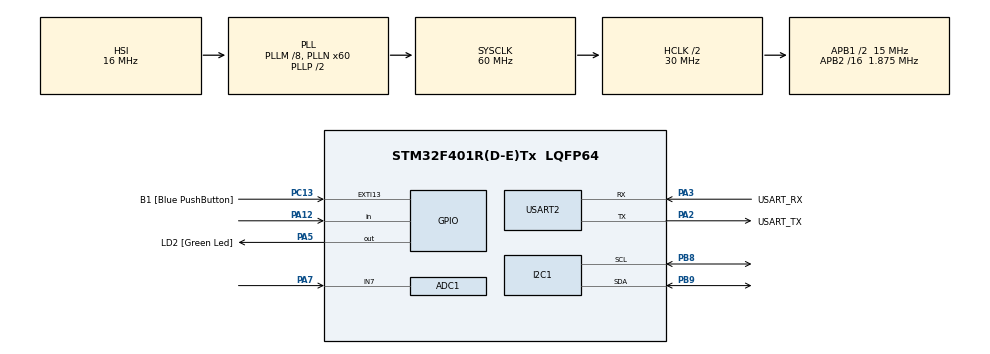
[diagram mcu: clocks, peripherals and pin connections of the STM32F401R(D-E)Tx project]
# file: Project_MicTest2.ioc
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ADC1.Channel-0\#ChannelRegularConversion=ADC_CHANNEL_7
ADC1.ClockPrescaler=ADC_CLOCK_SYNC_PCLK_DIV2
ADC1.ContinuousConvMode=ENABLE
ADC1.DMAContinuousRequests=ENABLE
ADC1.NbrOfConversion=1
ADC1.NbrOfConversionFlag=1
ADC1.Rank-0\#ChannelRegularConversion=1
ADC1.SamplingTime-0\#ChannelRegularConversion=ADC_SAMPLETIME_480CYCLES
ADC1.master=1
Dma.ADC1.0.Direction=DMA_PERIPH_TO_MEMORY
Dma.ADC1.0.FIFOMode=DMA_FIFOMODE_DISABLE
Dma.ADC1.0.Instance=DMA2_Stream0
Dma.ADC1.0.MemDataAlignment=DMA_MDATAALIGN_HALFWORD
Dma.ADC1.0.MemInc=DMA_MINC_ENABLE
Dma.ADC1.0.Mode=DMA_CIRCULAR
Dma.ADC1.0.PeriphDataAlignment=DMA_PDATAALIGN_HALFWORD
Dma.ADC1.0.PeriphInc=DMA_PINC_DISABLE
Dma.ADC1.0.Priority=DMA_PRIORITY_LOW
Dma.I2C1_TX.1.Direction=DMA_MEMORY_TO_PERIPH
Dma.I2C1_TX.1.FIFOMode=DMA_FIFOMODE_DISABLE
Dma.I2C1_TX.1.Instance=DMA1_Stream6
Dma.I2C1_TX.1.MemDataAlignment=DMA_MDATAALIGN_BYTE
Dma.I2C1_TX.1.MemInc=DMA_MINC_ENABLE
Dma.I2C1_TX.1.Mode=DMA_NORMAL
Dma.I2C1_TX.1.PeriphDataAlignment=DMA_PDATAALIGN_BYTE
Dma.I2C1_TX.1.PeriphInc=DMA_PINC_DISABLE
Dma.I2C1_TX.1.Priority=DMA_PRIORITY_LOW
Dma.Request0=ADC1
Dma.Request1=I2C1_TX
I2C1.OwnAddress=0
Mcu.Family=STM32F4
Mcu.Name=STM32F401R(D-E)Tx
Mcu.Package=LQFP64
NVIC.DMA1_Stream6_IRQn=true\:0\:0\:false\:false\:true\:false\:true
NVIC.DMA2_Stream0_IRQn=true\:0\:0\:false\:false\:true\:false\:true
NVIC.EXTI15_10_IRQn=true\:0\:0\:false\:false\:true\:true\:true
NVIC.PriorityGroup=NVIC_PRIORITYGROUP_0
PA12.Signal=GPIO_Input
PA13.GPIO_Label=TMS
PA13.Mode=Serial_Wire
PA13.Signal=SYS_JTMS-SWDIO
PA14.GPIO_Label=TCK
PA14.Mode=Serial_Wire
PA14.Signal=SYS_JTCK-SWCLK
PA2.GPIO_Label=USART_TX
PA2.GPIO_Mode=GPIO_MODE_AF_PP
PA2.GPIO_PuPd=GPIO_NOPULL
PA2.GPIO_Speed=GPIO_SPEED_FREQ_LOW
PA2.Mode=Asynchronous
PA2.Signal=USART2_TX
PA3.GPIO_Label=USART_RX
PA3.GPIO_Mode=GPIO_MODE_AF_PP
PA3.GPIO_PuPd=GPIO_NOPULL
PA3.GPIO_Speed=GPIO_SPEED_FREQ_LOW
PA3.Mode=Asynchronous
PA3.Signal=USART2_RX
PA5.GPIO_Label=LD2 [Green Led]
PA5.GPIO_Mode=GPIO_MODE_OUTPUT_PP
PA5.GPIO_PuPd=GPIO_NOPULL
PA5.GPIO_Speed=GPIO_SPEED_FREQ_LOW
PA5.Signal=GPIO_Output
PA7.Signal=ADCx_IN7
PB3.GPIO_Label=SWO
PB3.Signal=SYS_JTDO-SWO
PB8.GPIO_Pu=GPIO_NOPULL
PB8.Mode=I2C
PB8.Signal=I2C1_SCL
PB9.GPIO_Pu=GPIO_NOPULL
PB9.Mode=I2C
PB9.Signal=I2C1_SDA
PC13-ANTI_TAMP.GPIO_Label=B1 [Blue PushButton]
PC13-ANTI_TAMP.GPIO_ModeDefaultEXTI=GPIO_MODE_IT_FALLING
PC13-ANTI_TAMP.GPIO_PuPd=GPIO_NOPULL
PC13-ANTI_TAMP.Signal=GPXTI13
PC14-OSC32_IN.Mode=LSE-External-Oscillator
PC14-OSC32_IN.Signal=RCC_OSC32_IN
PC15-OSC32_OUT.Mode=LSE-External-Oscillator
PC15-OSC32_OUT.Signal=RCC_OSC32_OUT
PDM2PCM.CHANNEL1_in_ptr_channels=1
PDM2PCM.CHANNEL1_out_ptr_channels=1
PH0\ -\ OSC_IN.Mode=HSE-External-Oscillator
PH0\ -\ OSC_IN.Signal=RCC_OSC_IN
PH1\ -\ OSC_OUT.Mode=HSE-External-Oscillator
PH1\ -\ OSC_OUT.Signal=RCC_OSC_OUT
ProjectManager.HeapSize=0x200
ProjectManager.StackSize=0x400
ProjectManager.TargetToolchain=STM32CubeIDE
RCC.48MHZClocksFreq_Value=17142857.14285714
RCC.AHBCLKDivider=RCC_SYSCLK_DIV2
RCC.AHBFreq_Value=30000000
RCC.APB1CLKDivider=RCC_HCLK_DIV2
RCC.APB1Freq_Value=15000000
RCC.APB1TimFreq_Value=30000000
RCC.APB2CLKDivider=RCC_HCLK_DIV16
RCC.APB2Freq_Value=1875000
RCC.APB2TimFreq_Value=3750000
RCC.CortexFreq_Value=30000000
RCC.HCLKFreq_Value=30000000
RCC.HSE_VALUE=8000000
RCC.HSI_VALUE=16000000
RCC.PLLM=8
RCC.PLLN=60
RCC.PLLQ=7
RCC.SYSCLKFreq_VALUE=60000000
RCC.SYSCLKSource=RCC_SYSCLKSOURCE_PLLCLK
RCC.VCOOutputFreq_Value=120000000
SH.ADCx_IN7.0=ADC1_IN7,IN7
USART2.VirtualMode=VM_ASYNC
VP_CRC_VS_CRC.Mode=CRC_Activate
VP_PDM2PCM_VS_PDM2PCM.Mode=PDM2PCM_Channel
board=NUCLEO-F401RE

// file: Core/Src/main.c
/* USER CODE BEGIN Header */
/**
  ******************************************************************************
  * @file           : main.c
  * @brief          : Main program body
  ******************************************************************************
  * @attention
  *
  * Copyright (c) 2022 STMicroelectronics.
  * All rights reserved.
  *
  * This software is licensed under terms that can be found in the LICENSE file
  * in the root directory of this software component.
  * If no LICENSE file comes with this software, it is provided AS-IS.
  *
  ******************************************************************************
  */
/* USER CODE END Header */
#include "main.h"
#include "pdm2pcm.h"

ADC_HandleTypeDef hadc1;
DMA_HandleTypeDef hdma_adc1;

CRC_HandleTypeDef hcrc;

I2C_HandleTypeDef hi2c1;
DMA_HandleTypeDef hdma_i2c1_tx;

UART_HandleTypeDef huart2;

void SystemClock_Config(void);
static void MX_GPIO_Init(void);
static void MX_USART2_UART_Init(void);
static void MX_DMA_Init(void);
static void MX_ADC1_Init(void);
static void MX_CRC_Init(void);
static void MX_I2C1_Init(void);

/* USER CODE BEGIN 0 */
uint16_t txBuf[128];
uint16_t pdmRxBuf[128];
uint16_t MidBuffer[128];
uint8_t txstate = 0;
uint8_t rxstate = 0;

uint16_t fifobuf[256];
uint8_t start=0;
uint8_t fifo_w_ptr = 0;
uint8_t fifo_r_ptr = 0;
uint8_t fifo_read_enabled = 0;
char out[10];
uint8_t startRead=0;
void FifoWrite(uint16_t data) {
		if(startRead==1){
			sprintf(out,"-    ");
		}else{
			sprintf(out,"%4d ",data);
		}

		 HAL_UART_Transmit(&huart2,out,strlen(out),300);
		 HAL_I2C_Slave_Transmit(&hi2c1, out, sizeof(out),300);

}

uint16_t FifoRead() {
	uint16_t val = fifobuf[fifo_r_ptr];
	fifo_r_ptr++;
	sprintf(out,"%d ",val);
	HAL_UART_Transmit(&huart2,out,strlen(out),100);
	return val;
}
/* USER CODE END 0 */

int main(void)
{

  /* MCU Configuration--------------------------------------------------------*/

  /* Reset of all peripherals, Initializes the Flash interface and the Systick. */
  HAL_Init();

  /* Configure the system clock */
  SystemClock_Config();

  /* Initialize all configured peripherals */
  MX_GPIO_Init();
  MX_USART2_UART_Init();
  MX_DMA_Init();
  MX_ADC1_Init();
  MX_CRC_Init();
  MX_PDM2PCM_Init();
  MX_I2C1_Init();
  /* USER CODE BEGIN 2 */
  HAL_ADC_Start_DMA(&hadc1, (uint32_t*)pdmRxBuf, 128);
  /*char out[10];
  	      	sprintf(out,"TEST\r\n");
  	      	HAL_UART_Transmit(&huart2,out,strlen(out),100);*/
  /* USER CODE END 2 */

  /* Infinite loop */
  /* USER CODE BEGIN WHILE */
  while (1)
  {

	/* if (rxstate==1) {
	      	PDM_Filter(&pdmRxBuf[0],&MidBuffer[0], &PDM1_filter_handler);
	      	for (int i=0; i<16;i++) { FifoWrite(MidBuffer[i]); }
	      	if (fifo_w_ptr-fifo_r_ptr > 128) fifo_read_enabled=1;
	      	rxstate=0;

	      }

	   if (rxstate==2) {
	      	PDM_Filter(&pdmRxBuf[64],&MidBuffer[0], &PDM1_filter_handler);
	      	for (int i=0; i<16;i++) { FifoWrite(MidBuffer[i]); }
	      	rxstate=0;

	      }*/

	   /*if (rxstate==1) {
	  	      	//PDM_Filter(&pdmRxBuf[0],&MidBuffer[0], &PDM1_filter_handler);
	  	      	for (int i=0; i<64;i++) { FifoWrite(pdmRxBuf[i]); }
	  	      	if (fifo_w_ptr-fifo_r_ptr > 128) fifo_read_enabled=1;
	  	      	rxstate=0;

	  	      }

	  	   if (rxstate==2) {
	  	      	//PDM_Filter(&pdmRxBuf[64],&MidBuffer[0], &PDM1_filter_handler);
	  	      	for (int i=64; i<128;i++) { FifoWrite(pdmRxBuf[i]); }
	  	      	rxstate=0;

	  	      }
	   if (txstate==1) {
	      	if (fifo_read_enabled==1) {
	  			for (int i=0; i<64;i=i+4) {
	  				uint16_t data = FifoRead();
	  				txBuf[i] = data;
	  				txBuf[i+2] = data;
	  			}
	  			char out[10];
	  			sprintf(out,"\r\n");
	  			HAL_UART_Transmit(&huart2,out,strlen(out),100);
	      	}
	      	txstate=0;
	      }

	      if (txstate==2) {
	      	if (fifo_read_enabled==1) {
	  			for (int i=64; i<128;i=i+4) {
	  				uint16_t data = FifoRead();
	  				txBuf[i] = data;
	  				txBuf[i+2] = data;
	  			}
	  			char out[10];
	  				sprintf(out,"\r\n");
	  				HAL_UART_Transmit(&huart2,out,strlen(out),100);
	  		}
	      	txstate=0;
	      }
	 }*/
    /* USER CODE END WHILE */

  }
}

void SystemClock_Config(void)
{
  RCC_OscInitTypeDef RCC_OscInitStruct = {0};
  RCC_ClkInitTypeDef RCC_ClkInitStruct = {0};

  /** Configure the main internal regulator output voltage
  */
  __HAL_RCC_PWR_CLK_ENABLE();
  __HAL_PWR_VOLTAGESCALING_CONFIG(PWR_REGULATOR_VOLTAGE_SCALE2);
  /** Initializes the RCC Oscillators according to the specified parameters
  * in the RCC_OscInitTypeDef structure.
  */
  RCC_OscInitStruct.OscillatorType = RCC_OSCILLATORTYPE_HSI;
  RCC_OscInitStruct.HSIState = RCC_HSI_ON;
  RCC_OscInitStruct.HSICalibrationValue = RCC_HSICALIBRATION_DEFAULT;
  RCC_OscInitStruct.PLL.PLLState = RCC_PLL_ON;
  RCC_OscInitStruct.PLL.PLLSource = RCC_PLLSOURCE_HSI;
  RCC_OscInitStruct.PLL.PLLM = 8;
  RCC_OscInitStruct.PLL.PLLN = 60;
  RCC_OscInitStruct.PLL.PLLP = RCC_PLLP_DIV2;
  RCC_OscInitStruct.PLL.PLLQ = 7;
  if (HAL_RCC_OscConfig(&RCC_OscInitStruct) != HAL_OK)
  {
    Error_Handler();
  }
  /** Initializes the CPU, AHB and APB buses clocks
  */
  RCC_ClkInitStruct.ClockType = RCC_CLOCKTYPE_HCLK|RCC_CLOCKTYPE_SYSCLK
                              |RCC_CLOCKTYPE_PCLK1|RCC_CLOCKTYPE_PCLK2;
  RCC_ClkInitStruct.SYSCLKSource = RCC_SYSCLKSOURCE_PLLCLK;
  RCC_ClkInitStruct.AHBCLKDivider = RCC_SYSCLK_DIV2;
  RCC_ClkInitStruct.APB1CLKDivider = RCC_HCLK_DIV2;
  RCC_ClkInitStruct.APB2CLKDivider = RCC_HCLK_DIV16;

  if (HAL_RCC_ClockConfig(&RCC_ClkInitStruct, FLASH_LATENCY_0) != HAL_OK)
  {
    Error_Handler();
  }
}

static void MX_ADC1_Init(void)
{

  ADC_ChannelConfTypeDef sConfig = {0};

  /** Configure the global features of the ADC (Clock, Resolution, Data Alignment and number of conversion)
  */
  hadc1.Instance = ADC1;
  hadc1.Init.ClockPrescaler = ADC_CLOCK_SYNC_PCLK_DIV2;
  hadc1.Init.Resolution = ADC_RESOLUTION_12B;
  hadc1.Init.ScanConvMode = DISABLE;
  hadc1.Init.ContinuousConvMode = ENABLE;
  hadc1.Init.DiscontinuousConvMode = DISABLE;
  hadc1.Init.ExternalTrigConvEdge = ADC_EXTERNALTRIGCONVEDGE_NONE;
  hadc1.Init.ExternalTrigConv = ADC_SOFTWARE_START;
  hadc1.Init.DataAlign = ADC_DATAALIGN_RIGHT;
  hadc1.Init.NbrOfConversion = 1;
  hadc1.Init.DMAContinuousRequests = ENABLE;
  hadc1.Init.EOCSelection = ADC_EOC_SINGLE_CONV;
  if (HAL_ADC_Init(&hadc1) != HAL_OK)
  {
    Error_Handler();
  }
  /** Configure for the selected ADC regular channel its corresponding rank in the sequencer and its sample time.
  */
  sConfig.Channel = ADC_CHANNEL_7;
  sConfig.Rank = 1;
  sConfig.SamplingTime = ADC_SAMPLETIME_480CYCLES;
  if (HAL_ADC_ConfigChannel(&hadc1, &sConfig) != HAL_OK)
  {
    Error_Handler();
  }

}

static void MX_CRC_Init(void)
{

  hcrc.Instance = CRC;
  if (HAL_CRC_Init(&hcrc) != HAL_OK)
  {
    Error_Handler();
  }
  __HAL_CRC_DR_RESET(&hcrc);

}

static void MX_I2C1_Init(void)
{

  hi2c1.Instance = I2C1;
  hi2c1.Init.ClockSpeed = 100000;
  hi2c1.Init.DutyCycle = I2C_DUTYCYCLE_2;
  hi2c1.Init.OwnAddress1 = 0;
  hi2c1.Init.AddressingMode = I2C_ADDRESSINGMODE_7BIT;
  hi2c1.Init.DualAddressMode = I2C_DUALADDRESS_DISABLE;
  hi2c1.Init.OwnAddress2 = 0;
  hi2c1.Init.GeneralCallMode = I2C_GENERALCALL_DISABLE;
  hi2c1.Init.NoStretchMode = I2C_NOSTRETCH_DISABLE;
  if (HAL_I2C_Init(&hi2c1) != HAL_OK)
  {
    Error_Handler();
  }

}

static void MX_USART2_UART_Init(void)
{

  huart2.Instance = USART2;
  huart2.Init.BaudRate = 115200;
  huart2.Init.WordLength = UART_WORDLENGTH_8B;
  huart2.Init.StopBits = UART_STOPBITS_1;
  huart2.Init.Parity = UART_PARITY_NONE;
  huart2.Init.Mode = UART_MODE_TX_RX;
  huart2.Init.HwFlowCtl = UART_HWCONTROL_NONE;
  huart2.Init.OverSampling = UART_OVERSAMPLING_16;
  if (HAL_UART_Init(&huart2) != HAL_OK)
  {
    Error_Handler();
  }

}

static void MX_DMA_Init(void)
{

  /* DMA controller clock enable */
  __HAL_RCC_DMA2_CLK_ENABLE();
  __HAL_RCC_DMA1_CLK_ENABLE();

  /* DMA interrupt init */
  /* DMA1_Stream6_IRQn interrupt configuration */
  HAL_NVIC_SetPriority(DMA1_Stream6_IRQn, 0, 0);
  HAL_NVIC_EnableIRQ(DMA1_Stream6_IRQn);
  /* DMA2_Stream0_IRQn interrupt configuration */
  HAL_NVIC_SetPriority(DMA2_Stream0_IRQn, 0, 0);
  HAL_NVIC_EnableIRQ(DMA2_Stream0_IRQn);

}

static void MX_GPIO_Init(void)
{
  GPIO_InitTypeDef GPIO_InitStruct = {0};

  /* GPIO Ports Clock Enable */
  __HAL_RCC_GPIOC_CLK_ENABLE();
  __HAL_RCC_GPIOH_CLK_ENABLE();
  __HAL_RCC_GPIOA_CLK_ENABLE();
  __HAL_RCC_GPIOB_CLK_ENABLE();

  /*Configure GPIO pin Output Level */
  HAL_GPIO_WritePin(LD2_GPIO_Port, LD2_Pin, GPIO_PIN_RESET);

  /*Configure GPIO pin : B1_Pin */
  GPIO_InitStruct.Pin = B1_Pin;
  GPIO_InitStruct.Mode = GPIO_MODE_IT_FALLING;
  GPIO_InitStruct.Pull = GPIO_NOPULL;
  HAL_GPIO_Init(B1_GPIO_Port, &GPIO_InitStruct);

  /*Configure GPIO pin : LD2_Pin */
  GPIO_InitStruct.Pin = LD2_Pin;
  GPIO_InitStruct.Mode = GPIO_MODE_OUTPUT_PP;
  GPIO_InitStruct.Pull = GPIO_NOPULL;
  GPIO_InitStruct.Speed = GPIO_SPEED_FREQ_LOW;
  HAL_GPIO_Init(LD2_GPIO_Port, &GPIO_InitStruct);

  /*Configure GPIO pin : PA12 */
  GPIO_InitStruct.Pin = GPIO_PIN_12;
  GPIO_InitStruct.Mode = GPIO_MODE_INPUT;
  GPIO_InitStruct.Pull = GPIO_NOPULL;
  HAL_GPIO_Init(GPIOA, &GPIO_InitStruct);

  /* EXTI interrupt init*/
  HAL_NVIC_SetPriority(EXTI15_10_IRQn, 0, 0);
  HAL_NVIC_EnableIRQ(EXTI15_10_IRQn);

}

/* USER CODE BEGIN 4 */
void HAL_GPIO_EXTI_Callback(uint16_t GPIO_Pin)
{
	start= (start+1)%2;

	__HAL_GPIO_EXTI_CLEAR_IT(GPIO_Pin);
}
void HAL_ADC_ConvCpltCallback(ADC_HandleTypeDef *hadc){
		startRead = HAL_GPIO_ReadPin(GPIOA, 1<<12);
		rxstate = 2;
		txstate = 2;
		for (int i=64; i<128;i++) {
			FifoWrite(pdmRxBuf[i]);
		}

	/*char out[10];
	sprintf(out,"Out\r\n");
	HAL_UART_Transmit(&huart2,out,strlen(out),100);*/
}
void HAL_ADC_ConvHalfCpltCallback(ADC_HandleTypeDef* hadc){
	if(startRead==1){
		rxstate = 1;
		txstate = 1;
		for (int i=0; i<64;i++) { FifoWrite(pdmRxBuf[i]); }
	}

	/*char out[10];
	sprintf(out,"\r\n");
	HAL_UART_Transmit(&huart2,out,strlen(out),100);*/
}
/* USER CODE END 4 */

void Error_Handler(void)
{
  __disable_irq();
  while (1)
  {
  }
}
